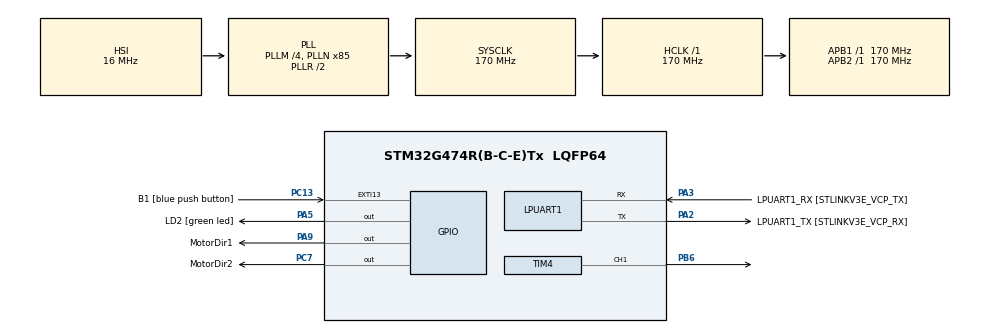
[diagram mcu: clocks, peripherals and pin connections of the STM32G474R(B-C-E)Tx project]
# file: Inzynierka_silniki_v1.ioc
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Mcu.Family=STM32G4
Mcu.Name=STM32G474R(B-C-E)Tx
Mcu.Package=LQFP64
NVIC.EXTI15_10_IRQn=true\:0\:0\:false\:false\:true\:true\:true\:true
NVIC.PriorityGroup=NVIC_PRIORITYGROUP_4
PA13.GPIO_Label=T_SWDIO
PA13.Mode=Serial_Wire
PA13.Signal=SYS_JTMS-SWDIO
PA14.GPIO_Label=T_SWCLK
PA14.Mode=Serial_Wire
PA14.Signal=SYS_JTCK-SWCLK
PA2.GPIO_Label=LPUART1_TX [STLINKV3E_VCP_RX]
PA2.Mode=Asynchronous
PA2.Signal=LPUART1_TX
PA3.GPIO_Label=LPUART1_RX [STLINKV3E_VCP_TX]
PA3.Mode=Asynchronous
PA3.Signal=LPUART1_RX
PA5.GPIO_Label=LD2 [green led]
PA5.Signal=GPIO_Output
PA9.GPIO_Label=MotorDir1
PA9.Signal=GPIO_Output
PB3.GPIO_Label=T_SWO
PB3.Signal=SYS_JTDO-SWO
PB6.Signal=S_TIM4_CH1
PC13.GPIO_Label=B1 [blue push button]
PC13.Signal=GPXTI13
PC14-OSC32_IN.GPIO_Label=RCC_OSC32_IN
PC14-OSC32_IN.Mode=LSE-External-Oscillator
PC14-OSC32_IN.Signal=RCC_OSC32_IN
PC15-OSC32_OUT.GPIO_Label=RCC_OSC32_OUT
PC15-OSC32_OUT.Mode=LSE-External-Oscillator
PC15-OSC32_OUT.Signal=RCC_OSC32_OUT
PC7.GPIO_Label=MotorDir2
PC7.Signal=GPIO_Output
PF0-OSC_IN.GPIO_Label=RCC_OSC_IN
PF0-OSC_IN.Mode=HSE-External-Oscillator
PF0-OSC_IN.Signal=RCC_OSC_IN
PF1-OSC_OUT.GPIO_Label=RCC_OSC_OUT
PF1-OSC_OUT.Mode=HSE-External-Oscillator
PF1-OSC_OUT.Signal=RCC_OSC_OUT
ProjectManager.HeapSize=0x200
ProjectManager.StackSize=0x400
ProjectManager.TargetToolchain=STM32CubeIDE
RCC.ADC12Freq_Value=170000000
RCC.ADC345Freq_Value=170000000
RCC.AHBFreq_Value=170000000
RCC.APB1Freq_Value=170000000
RCC.APB1TimFreq_Value=170000000
RCC.APB2Freq_Value=170000000
RCC.APB2TimFreq_Value=170000000
RCC.CortexFreq_Value=170000000
RCC.EXTERNAL_CLOCK_VALUE=12288000
RCC.HCLKFreq_Value=170000000
RCC.HSE_VALUE=24000000
RCC.HSI48_VALUE=48000000
RCC.HSI_VALUE=16000000
RCC.PLLM=RCC_PLLM_DIV4
RCC.PLLN=85
RCC.RTCClockSelection=RCC_RTCCLKSOURCE_LSE
RCC.SYSCLKFreq_VALUE=170000000
RCC.SYSCLKSource=RCC_SYSCLKSOURCE_PLLCLK
RCC.USBFreq_Value=170000000
RCC.VCOOutputFreq_Value=340000000
SH.S_TIM4_CH1.0=TIM4_CH1,PWM Generation1 CH1
TIM4.Channel-PWM\ Generation1\ CH1=TIM_CHANNEL_1
TIM4.PeriodNoDither=99
TIM4.Prescaler=16999
VP_SYS_VS_DBSignals.Mode=DisableDeadBatterySignals
VP_TIM4_VS_ClockSourceINT.Mode=Internal
board=NUCLEO-G474RE

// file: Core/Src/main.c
/* USER CODE BEGIN Header */
/**
  ******************************************************************************
  * @file           : main.c
  * @brief          : Main program body
  ******************************************************************************
  * @attention
  *
  * Copyright (c) 2025 STMicroelectronics.
  * All rights reserved.
  *
  * This software is licensed under terms that can be found in the LICENSE file
  * in the root directory of this software component.
  * If no LICENSE file comes with this software, it is provided AS-IS.
  *
  ******************************************************************************
  */
/* USER CODE END Header */
#include "main.h"
#include "usart.h"
#include "tim.h"
#include "gpio.h"

/* USER CODE BEGIN Includes */
#include "motor_simple.h"

/* USER CODE END Includes */

/* USER CODE BEGIN PV */
//motors variable
Motor_t Motor1;
uint8_t MotorPWM;
uint8_t Direction;
/* USER CODE END PV */

void SystemClock_Config(void);

int main(void)
{

  /* MCU Configuration--------------------------------------------------------*/

  /* Reset of all peripherals, Initializes the Flash interface and the Systick. */
  HAL_Init();

  /* Configure the system clock */
  SystemClock_Config();

  /* Initialize all configured peripherals */
  MX_GPIO_Init();
  MX_LPUART1_UART_Init();
  MX_TIM4_Init();
  /* USER CODE BEGIN 2 */
//initializing motor
  Motor_Init(&Motor1, &htim4, TIM_CHANNEL_1, MotorPWM, MotorDir1_GPIO_Port, MotorDir1_Pin, MotorDir2_GPIO_Port, MotorDir2_Pin);

  MotorPWM = 50;
  Direction = 1;
  Motor_SetRideParameters(&Motor1, MotorPWM, Direction);
  Motor_Ride(&Motor1);
  HAL_Delay(3000);

  MotorPWM = 50;
  Direction = 0;
  Motor_SetRideParameters(&Motor1, MotorPWM, Direction);
  Motor_Ride(&Motor1);
  HAL_Delay(3000);

  /* USER CODE END 2 */

  /* Infinite loop */
  while (1)
  {

  }
}

void SystemClock_Config(void)
{
  RCC_OscInitTypeDef RCC_OscInitStruct = {0};
  RCC_ClkInitTypeDef RCC_ClkInitStruct = {0};

  /** Configure the main internal regulator output voltage
  */
  HAL_PWREx_ControlVoltageScaling(PWR_REGULATOR_VOLTAGE_SCALE1_BOOST);

  /** Initializes the RCC Oscillators according to the specified parameters
  * in the RCC_OscInitTypeDef structure.
  */
  RCC_OscInitStruct.OscillatorType = RCC_OSCILLATORTYPE_HSI;
  RCC_OscInitStruct.HSIState = RCC_HSI_ON;
  RCC_OscInitStruct.HSICalibrationValue = RCC_HSICALIBRATION_DEFAULT;
  RCC_OscInitStruct.PLL.PLLState = RCC_PLL_ON;
  RCC_OscInitStruct.PLL.PLLSource = RCC_PLLSOURCE_HSI;
  RCC_OscInitStruct.PLL.PLLM = RCC_PLLM_DIV4;
  RCC_OscInitStruct.PLL.PLLN = 85;
  RCC_OscInitStruct.PLL.PLLP = RCC_PLLP_DIV2;
  RCC_OscInitStruct.PLL.PLLQ = RCC_PLLQ_DIV2;
  RCC_OscInitStruct.PLL.PLLR = RCC_PLLR_DIV2;
  if (HAL_RCC_OscConfig(&RCC_OscInitStruct) != HAL_OK)
  {
    Error_Handler();
  }

  /** Initializes the CPU, AHB and APB buses clocks
  */
  RCC_ClkInitStruct.ClockType = RCC_CLOCKTYPE_HCLK|RCC_CLOCKTYPE_SYSCLK
                              |RCC_CLOCKTYPE_PCLK1|RCC_CLOCKTYPE_PCLK2;
  RCC_ClkInitStruct.SYSCLKSource = RCC_SYSCLKSOURCE_PLLCLK;
  RCC_ClkInitStruct.AHBCLKDivider = RCC_SYSCLK_DIV1;
  RCC_ClkInitStruct.APB1CLKDivider = RCC_HCLK_DIV1;
  RCC_ClkInitStruct.APB2CLKDivider = RCC_HCLK_DIV1;

  if (HAL_RCC_ClockConfig(&RCC_ClkInitStruct, FLASH_LATENCY_4) != HAL_OK)
  {
    Error_Handler();
  }
}

void Error_Handler(void)
{
  __disable_irq();
  while (1)
  {
  }
}
